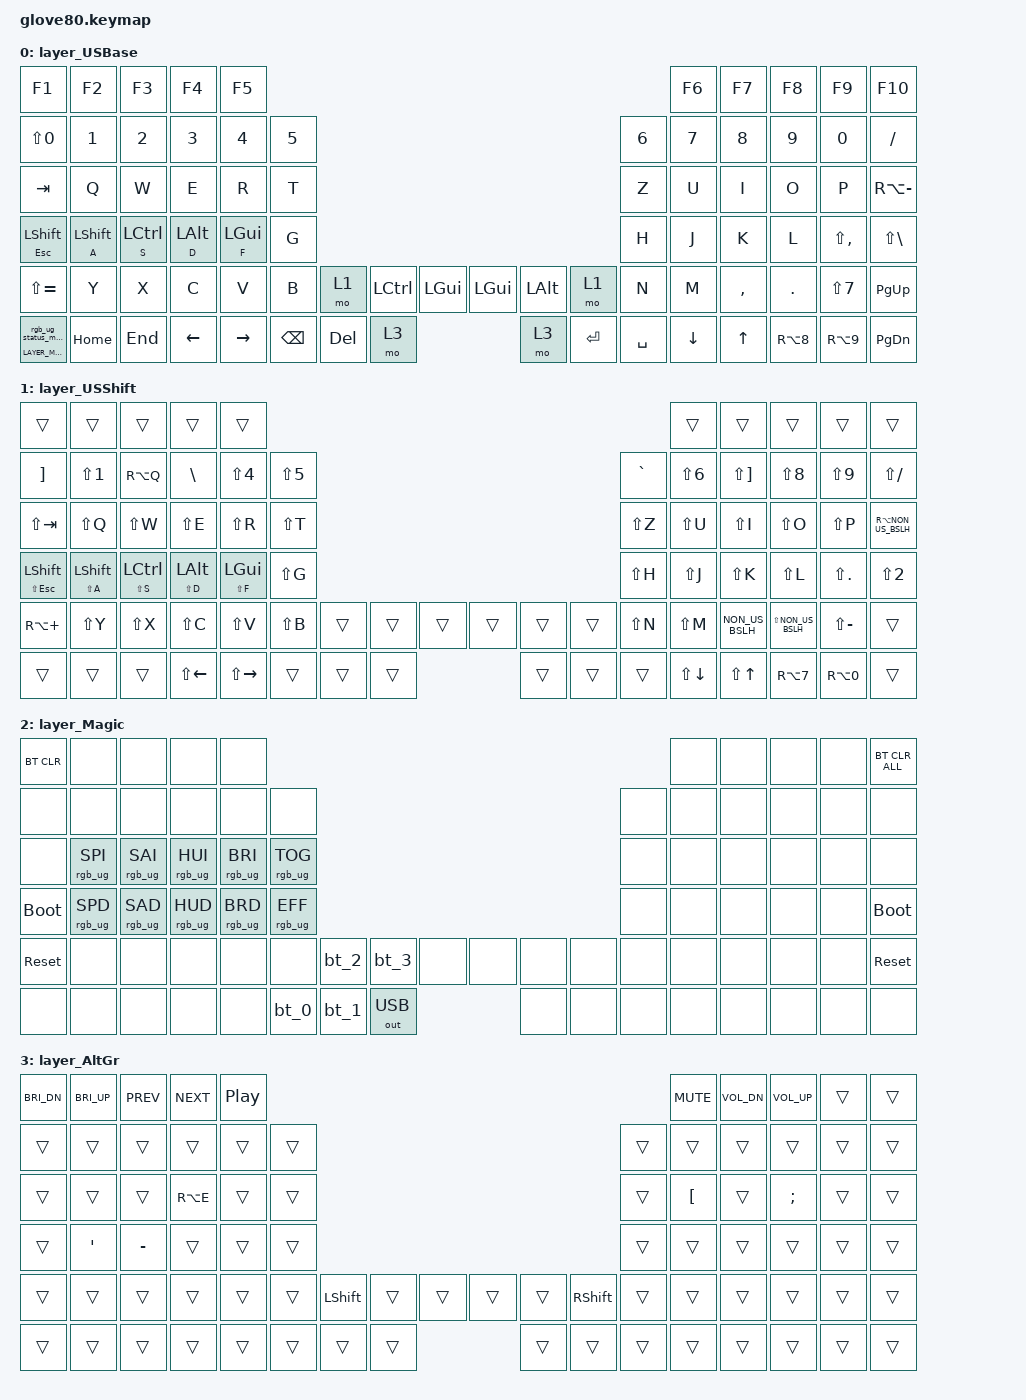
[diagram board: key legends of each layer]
/*
 * Copyright (c) 2020 The ZMK Contributors
 * Copyright (c) 2023 Innaworks Development Limited, trading as MoErgo
 *
 * SPDX-License-Identifier: MIT
 */


/* THIS FILE WAS GENERATED BY GLOVE80 LAYOUT EDITOR
 *
 * This file was generated automatically. You may or may not want to
 * edit it directly.
 */

#include <behaviors.dtsi>
/* Include all behavior includes needed */
#include <dt-bindings/zmk/outputs.h>
#include <dt-bindings/zmk/keys.h>
#include <dt-bindings/zmk/bt.h>
#include <dt-bindings/zmk/rgb.h>

/* Automatically generated layer name #define */
#define LAYER_USBase 0
#define LAYER_USShift 1
#define LAYER_Magic 2
#define LAYER_AltGr 3

/* To deal with the situation where there is no Lower layer, to keep &lower happy */
#ifndef LAYER_Lower
#define LAYER_Lower 0
#endif

/* Custom Device-tree */



/* Glove80 system behavior & macros */
/ {
    behaviors {
        // For the "layer" key, it'd nice to be able to use it as either a shift or a toggle.
        // Configure it as a tap dance, so the first tap (or hold) is a &mo and the second tap is a &to
        lower: lower {
            compatible = "zmk,behavior-tap-dance";
            label = "LAYER_TAP_DANCE";
            #binding-cells = <0>;
            tapping-term-ms = <200>;
            bindings = <&mo LAYER_Lower>, <&to LAYER_Lower>;
        };
    };
};

/ {
    macros {
        rgb_ug_status_macro: rgb_ug_status_macro {
            label = "RGB_UG_STATUS";
            compatible = "zmk,behavior-macro";
            #binding-cells = <0>;
            bindings
                = <&rgb_ug RGB_STATUS>;
        };
    };
};


/ {
#ifdef BT_DISC_CMD
    behaviors {
        bt_0: bt_0 {
            compatible = "zmk,behavior-tap-dance";
            label = "BT_0";
            #binding-cells = <0>;
            tapping-term-ms = <200>;
            bindings = <&bt_select_0>, <&bt BT_DISC 0>;
        };
        bt_1: bt_1 {
            compatible = "zmk,behavior-tap-dance";
            label = "BT_1";
            #binding-cells = <0>;
            tapping-term-ms = <200>;
            bindings = <&bt_select_1>, <&bt BT_DISC 1>;
        };
        bt_2: bt_2 {
            compatible = "zmk,behavior-tap-dance";
            label = "BT_2";
            #binding-cells = <0>;
            tapping-term-ms = <200>;
            bindings = <&bt_select_2>, <&bt BT_DISC 2>;
        };
        bt_3: bt_3 {
            compatible = "zmk,behavior-tap-dance";
            label = "BT_3";
            #binding-cells = <0>;
            tapping-term-ms = <200>;
            bindings = <&bt_select_3>, <&bt BT_DISC 3>;
        };
    };
    macros {
        bt_select_0: bt_select_0 {
            label = "BT_SELECT_0";
            compatible = "zmk,behavior-macro";
            #binding-cells = <0>;
            bindings
                = <&out OUT_BLE>,
                  <&bt BT_SEL 0>;
        };
        bt_select_1: bt_select_1 {
            label = "BT_SELECT_1";
            compatible = "zmk,behavior-macro";
            #binding-cells = <0>;
            bindings
                = <&out OUT_BLE>,
                  <&bt BT_SEL 1>;
        };
        bt_select_2: bt_select_2 {
            label = "BT_SELECT_2";
            compatible = "zmk,behavior-macro";
            #binding-cells = <0>;
            bindings
                = <&out OUT_BLE>,
                  <&bt BT_SEL 2>;
        };
        bt_select_3: bt_select_3 {
            label = "BT_SELECT_3";
            compatible = "zmk,behavior-macro";
            #binding-cells = <0>;
            bindings
                = <&out OUT_BLE>,
                  <&bt BT_SEL 3>;
        };
    };
#else
    macros {
        bt_0: bt_0 {
            label = "BT_0";
            compatible = "zmk,behavior-macro";
            #binding-cells = <0>;
            bindings
                = <&out OUT_BLE>,
                  <&bt BT_SEL 0>;
        };
        bt_1: bt_1 {
            label = "BT_1";
            compatible = "zmk,behavior-macro";
            #binding-cells = <0>;
            bindings
                = <&out OUT_BLE>,
                  <&bt BT_SEL 1>;
        };
        bt_2: bt_2 {
            label = "BT_2";
            compatible = "zmk,behavior-macro";
            #binding-cells = <0>;
            bindings
                = <&out OUT_BLE>,
                  <&bt BT_SEL 2>;
        };
        bt_3: bt_3 {
            label = "BT_3";
            compatible = "zmk,behavior-macro";
            #binding-cells = <0>;
            bindings
                = <&out OUT_BLE>,
                  <&bt BT_SEL 3>;
        };
    };
#endif
};

/ {
    behaviors {
        magic: magic {
            compatible = "zmk,behavior-hold-tap";
            label = "MAGIC_HOLD_TAP";
            #binding-cells = <2>;
            flavor = "tap-preferred";
            tapping-term-ms = <200>;
            bindings = <&mo>, <&rgb_ug_status_macro>;
        };
    };
};

/* #define for key positions */
#define POS_LH_T1 52
#define POS_LH_T2 53
#define POS_LH_T3 54
#define POS_LH_T4 69
#define POS_LH_T5 70
#define POS_LH_T6 71
#define POS_LH_C1R2 15
#define POS_LH_C1R3 27
#define POS_LH_C1R4 39
#define POS_LH_C1R5 51
#define POS_LH_C2R1 4
#define POS_LH_C2R2 14
#define POS_LH_C2R3 26
#define POS_LH_C2R4 38
#define POS_LH_C2R5 50
#define POS_LH_C2R6 68
#define POS_LH_C3R1 3
#define POS_LH_C3R2 13
#define POS_LH_C3R3 25
#define POS_LH_C3R4 37
#define POS_LH_C3R5 49
#define POS_LH_C3R6 67
#define POS_LH_C4R1 2
#define POS_LH_C4R2 12
#define POS_LH_C4R3 24
#define POS_LH_C4R4 36
#define POS_LH_C4R5 48
#define POS_LH_C4R6 66
#define POS_LH_C5R1 1
#define POS_LH_C5R2 11
#define POS_LH_C5R3 23
#define POS_LH_C5R4 35
#define POS_LH_C5R5 47
#define POS_LH_C5R6 65
#define POS_LH_C6R1 0
#define POS_LH_C6R2 10
#define POS_LH_C6R3 22
#define POS_LH_C6R4 34
#define POS_LH_C6R5 46
#define POS_LH_C6R6 64
#define POS_RH_T1 57
#define POS_RH_T2 56
#define POS_RH_T3 55
#define POS_RH_T4 74
#define POS_RH_T5 73
#define POS_RH_T6 72
#define POS_RH_C1R2 16
#define POS_RH_C1R3 28
#define POS_RH_C1R4 40
#define POS_RH_C1R5 58
#define POS_RH_C2R1 5
#define POS_RH_C2R2 17
#define POS_RH_C2R3 29
#define POS_RH_C2R4 41
#define POS_RH_C2R5 59
#define POS_RH_C2R6 75
#define POS_RH_C3R1 6
#define POS_RH_C3R2 18
#define POS_RH_C3R3 30
#define POS_RH_C3R4 42
#define POS_RH_C3R5 60
#define POS_RH_C3R6 76
#define POS_RH_C4R1 7
#define POS_RH_C4R2 19
#define POS_RH_C4R3 31
#define POS_RH_C4R4 43
#define POS_RH_C4R5 61
#define POS_RH_C4R6 77
#define POS_RH_C5R1 8
#define POS_RH_C5R2 20
#define POS_RH_C5R3 32
#define POS_RH_C5R4 44
#define POS_RH_C5R5 62
#define POS_RH_C5R6 78
#define POS_RH_C6R1 9
#define POS_RH_C6R2 21
#define POS_RH_C6R3 33
#define POS_RH_C6R4 45
#define POS_RH_C6R5 63
#define POS_RH_C6R6 79

/* Custom Defined Behaviors */
/ {

};

/* Automatically generated macro definitions */
/ {
    macros {

    };
};

/* Automatically generated behavior definitions */
/ {
    behaviors {

        hp: hp {
            compatible = "zmk,behavior-hold-tap";
            #binding-cells = <2>;
            tapping-term-ms = <400>;
            bindings = <&kp>, <&kp>;
            flavor = "tap-preferred";
        };
    };
};

/* Automatically generated combos definitions */
/ {
    combos {
    compatible = "zmk,combos";
    };
};

/* Automatically generated keymap */
/ {
    keymap {
        compatible = "zmk,keymap";


        layer_USBase {
            bindings = <
               &kp F1       &kp F2       &kp F3      &kp F4      &kp F5                                                                                  &kp F6     &kp F7      &kp F8         &kp F9        &kp F10
           &kp LS(N0)       &kp N1       &kp N2      &kp N3      &kp N4  &kp N5                                                                &kp N6    &kp N7     &kp N8      &kp N9         &kp N0       &kp FSLH
              &kp TAB        &kp Q        &kp W       &kp E       &kp R   &kp T                                                                 &kp Z     &kp U      &kp I       &kp O          &kp P  &kp RA(MINUS)
        &hp ESC LSHFT  &hp A LSHFT  &hp S LCTRL  &hp D LALT  &hp F LGUI   &kp G                                                                 &kp H     &kp J      &kp K       &kp L  &kp LS(COMMA)   &kp LS(BSLH)
        &kp LS(EQUAL)        &kp Y        &kp X       &kp C       &kp V   &kp B     &mo 1  &kp LCTRL  &kp LGUI  &kp LGUI  &kp LALT      &mo 1   &kp N     &kp M  &kp COMMA     &kp DOT     &kp LS(N7)      &kp PG_UP
 &magic LAYER_Magic 0     &kp HOME      &kp END    &kp LEFT   &kp RIGHT          &kp BSPC    &kp DEL     &mo 3     &mo 3   &kp RET  &kp SPACE          &kp DOWN     &kp UP  &kp RA(N8)     &kp RA(N9)      &kp PG_DN
            >;
        };

        layer_USShift {
            bindings = <
            &trans           &trans           &trans          &trans          &trans                                                                               &trans           &trans               &trans         &trans               &trans
          &kp RBKT       &kp LS(N1)        &kp RA(Q)        &kp BSLH      &kp LS(N4)  &kp LS(N5)                                                  &kp GRAVE    &kp LS(N6)     &kp LS(RBKT)           &kp LS(N8)     &kp LS(N9)         &kp LS(FSLH)
       &kp LS(TAB)        &kp LS(Q)        &kp LS(W)       &kp LS(E)       &kp LS(R)   &kp LS(T)                                                  &kp LS(Z)     &kp LS(U)        &kp LS(I)            &kp LS(O)      &kp LS(P)  &kp RA(NON_US_BSLH)
 &hp LS(ESC) LSHFT  &hp LS(A) LSHFT  &hp LS(S) LCTRL  &hp LS(D) LALT  &hp LS(F) LGUI   &kp LS(G)                                                  &kp LS(H)     &kp LS(J)        &kp LS(K)            &kp LS(L)    &kp LS(DOT)           &kp LS(N2)
      &kp RA(PLUS)        &kp LS(Y)        &kp LS(X)       &kp LS(C)       &kp LS(V)   &kp LS(B)  &trans  &trans  &trans  &trans  &trans  &trans  &kp LS(N)     &kp LS(M)  &kp NON_US_BSLH  &kp LS(NON_US_BSLH)  &kp LS(MINUS)               &trans
            &trans           &trans           &trans    &kp LS(LEFT)   &kp LS(RIGHT)              &trans  &trans  &trans  &trans  &trans  &trans             &kp LS(DOWN)       &kp LS(UP)           &kp RA(N7)     &kp RA(N0)               &trans
            >;
        };

        layer_Magic {
            bindings = <
  &bt BT_CLR            &none            &none            &none            &none                                                                                  &none   &none   &none   &none  &bt BT_CLR_ALL
       &none            &none            &none            &none            &none            &none                                                         &none   &none   &none   &none   &none           &none
       &none  &rgb_ug RGB_SPI  &rgb_ug RGB_SAI  &rgb_ug RGB_HUI  &rgb_ug RGB_BRI  &rgb_ug RGB_TOG                                                         &none   &none   &none   &none   &none           &none
 &bootloader  &rgb_ug RGB_SPD  &rgb_ug RGB_SAD  &rgb_ug RGB_HUD  &rgb_ug RGB_BRD  &rgb_ug RGB_EFF                                                         &none   &none   &none   &none   &none     &bootloader
  &sys_reset            &none            &none            &none            &none            &none   &bt_2   &bt_3         &none   &none   &none   &none   &none   &none   &none   &none   &none      &sys_reset
       &none            &none            &none            &none            &none                    &bt_0   &bt_1  &out OUT_USB   &none   &none   &none           &none   &none   &none   &none           &none
            >;
        };

        layer_AltGr {
            bindings = <
 &kp C_BRI_DN  &kp C_BRI_UP  &kp C_PREV  &kp C_NEXT  &kp C_PP                                                                        &kp C_MUTE  &kp C_VOL_DN  &kp C_VOL_UP  &trans  &trans
       &trans        &trans      &trans      &trans    &trans  &trans                                                        &trans      &trans        &trans        &trans  &trans  &trans
       &trans        &trans      &trans   &kp RA(E)    &trans  &trans                                                        &trans    &kp LBKT        &trans      &kp SEMI  &trans  &trans
       &trans       &kp SQT   &kp MINUS      &trans    &trans  &trans                                                        &trans      &trans        &trans        &trans  &trans  &trans
       &trans        &trans      &trans      &trans    &trans  &trans  &kp LSHFT  &trans  &trans  &trans  &trans  &kp RSHFT  &trans      &trans        &trans        &trans  &trans  &trans
       &trans        &trans      &trans      &trans    &trans             &trans  &trans  &trans  &trans  &trans     &trans              &trans        &trans        &trans  &trans  &trans
            >;
        };

    };
};
